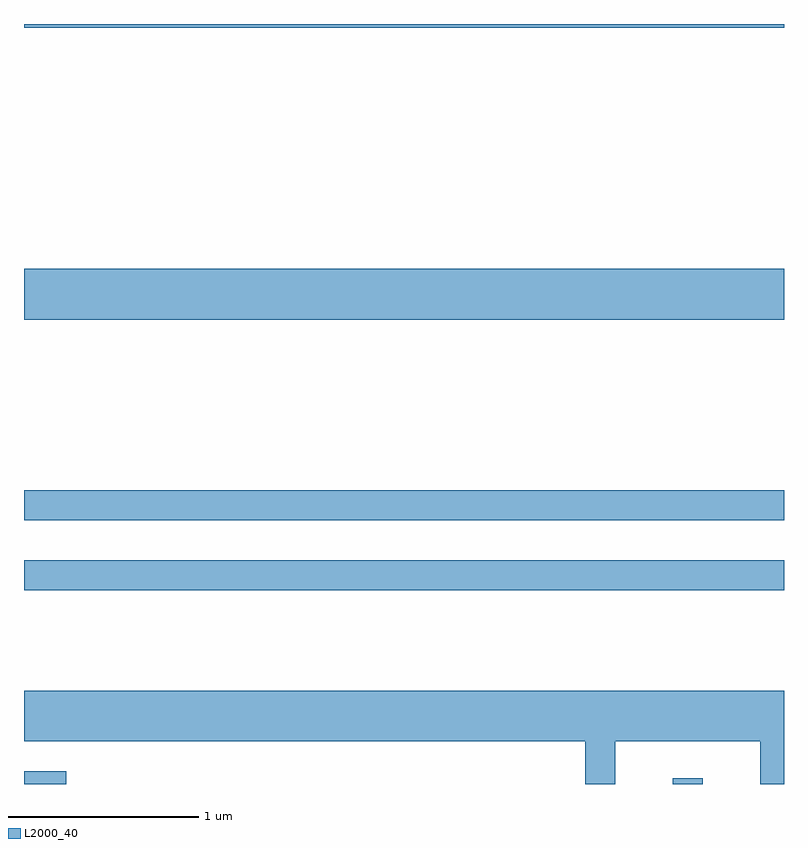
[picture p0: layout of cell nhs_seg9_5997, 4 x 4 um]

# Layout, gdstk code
import gdstk
lib = gdstk.Library(unit=1e-6, precision=1e-09)
def R(c, l, rs):  # rectangles x0, y0, x1, y1
    for r in rs: c.add(gdstk.rectangle(r[:2], r[2:], *l))
def P(c, l, *ps):  # polygons
    for p in ps: c.add(gdstk.Polygon(p, *l))
L2000_40 = (2000, 40)

nhs_seg9_5997 = lib.new_cell('nhs_seg9_5997')
R(nhs_seg9_5997, L2000_40, [(361.611,2040.432,361.833,2040.499), (365.026,2040.432,365.184,2040.463), (361.611,2041.451,365.611,2041.609), (361.611,2041.821,365.611,2041.979), (361.611,2042.876,365.611,2043.144), (361.611,2044.411,365.611,2044.432)])
P(nhs_seg9_5997, L2000_40, [(364.724,2040.656),(365.486,2040.656),(365.486,2040.432),(365.611,2040.432),(365.611,2040.924),(361.611,2040.924),(361.611,2040.656),(364.566,2040.656),(364.566,2040.432),(364.724,2040.432)])

lib.write_gds('nhs_seg9_5997.gds')
